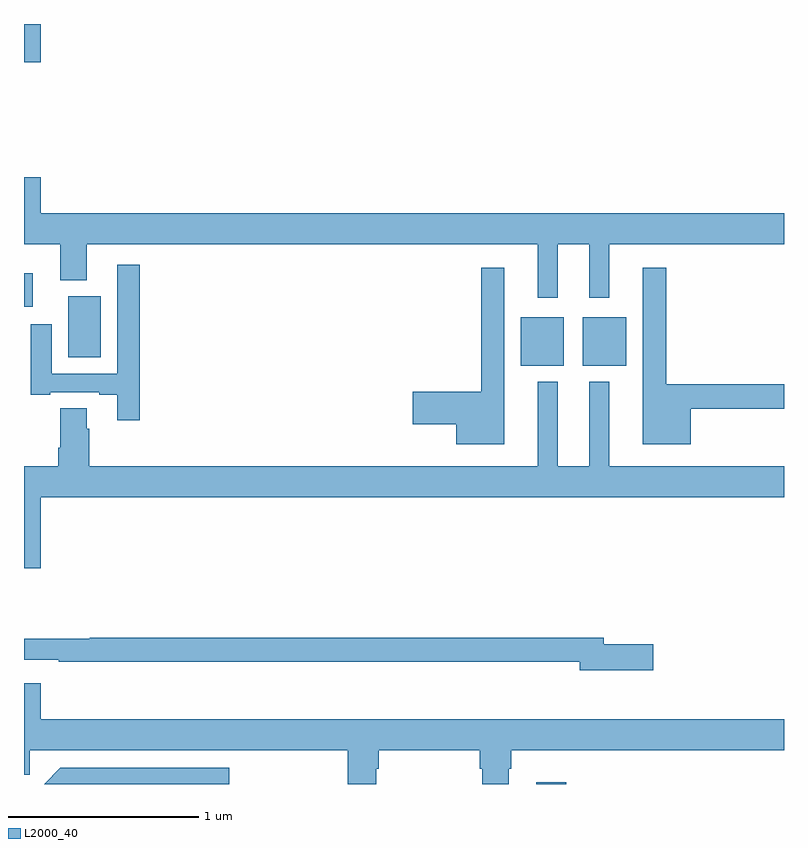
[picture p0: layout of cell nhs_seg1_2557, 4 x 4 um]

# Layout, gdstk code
import gdstk
lib = gdstk.Library(unit=1e-6, precision=1e-09)
def R(c, l, rs):  # rectangles x0, y0, x1, y1
    for r in rs: c.add(gdstk.rectangle(r[:2], r[2:], *l))
def P(c, l, *ps):  # polygons
    for p in ps: c.add(gdstk.Polygon(p, *l))
L2000_40 = (2000, 40)

nhs_seg1_2557 = lib.new_cell('nhs_seg1_2557')
R(nhs_seg1_2557, L2000_40, [(251.696,574.199,251.855,574.207), (251.615,576.401,251.842,576.655), (251.942,576.401,252.169,576.655), (249.233,576.446,249.403,576.766), (249,576.71,249.046,576.886), (249,577.998,249.088,578.199)])
P(nhs_seg1_2557, L2000_40, [(251.809,577.04),(251.975,577.04),(251.975,576.759),(252.079,576.759),(252.079,577.04),(253,577.04),(253,577.204),(249.088,577.204),(249.088,577.393),(249,577.393),(249,577.04),(249.191,577.04),(249.191,576.851),(249.331,576.851),(249.331,577.04),(251.705,577.04),(251.705,576.759),(251.809,576.759)],
  [(249.608,576.931),(249.492,576.931),(249.492,576.357),(249.145,576.357),(249.145,576.619),(249.035,576.619),(249.035,576.249),(249.139,576.249),(249.139,576.261),(249.395,576.261),(249.395,576.249),(249.491,576.249),(249.491,576.114),(249.608,576.114)],
  [(252.508,576.174),(253,576.174),(253,576.302),(252.379,576.302),(252.379,576.916),(252.257,576.916),(252.257,575.987),(252.508,575.987)],
  [(251.527,576.916),(251.406,576.916),(251.406,576.263),(251.046,576.263),(251.046,576.092),(251.276,576.092),(251.276,575.987),(251.527,575.987)],
  [(249.088,575.708),(253,575.708),(253,575.872),(252.079,575.872),(252.079,576.316),(251.975,576.316),(251.975,575.872),(251.809,575.872),(251.809,576.316),(251.705,576.316),(251.705,575.872),(249.344,575.872),(249.344,576.068),(249.331,576.068),(249.331,576.176),(249.191,576.176),(249.191,575.968),(249.179,575.968),(249.179,575.872),(249,575.872),(249,575.334),(249.088,575.334)],
  [(252.313,574.934),(252.052,574.934),(252.052,574.97),(249.345,574.97),(249.345,574.963),(249,574.963),(249,574.854),(249.184,574.854),(249.184,574.842),(251.924,574.842),(251.924,574.799),(252.313,574.799)],
  [(250.855,574.28),(250.868,574.28),(250.868,574.376),(251.399,574.376),(251.399,574.28),(251.411,574.28),(251.411,574.199),(251.551,574.199),(251.551,574.28),(251.564,574.28),(251.564,574.376),(253,574.376),(253,574.54),(249.088,574.54),(249.088,574.729),(249,574.729),(249,574.249),(249.03,574.249),(249.03,574.376),(250.703,574.376),(250.703,574.199),(250.855,574.199)],
  [(250.079,574.284),(249.192,574.284),(249.107,574.199),(250.079,574.199)])

lib.write_gds('nhs_seg1_2557.gds')
